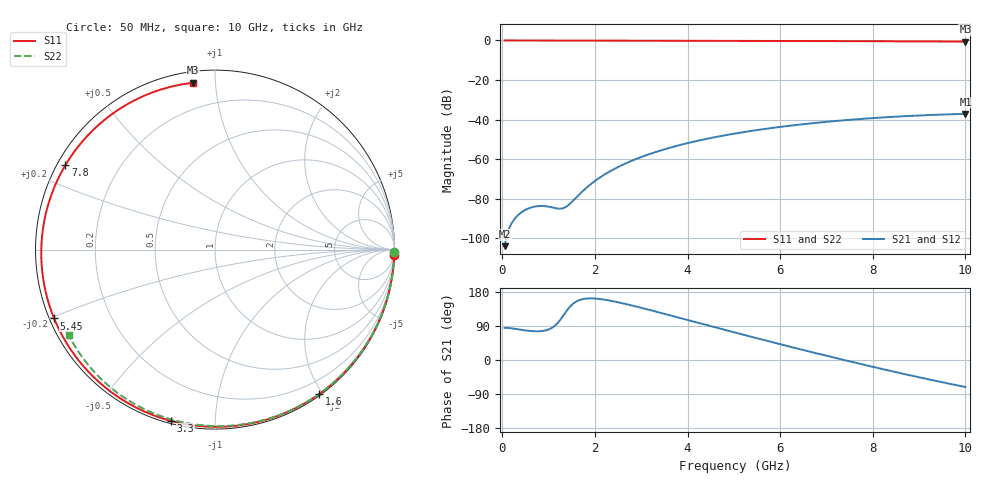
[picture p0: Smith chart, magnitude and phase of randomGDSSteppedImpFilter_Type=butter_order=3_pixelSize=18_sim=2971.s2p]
! freq	dB(S11)	phase(S11)	dB(S12)	phase(S12)
!  dB(S21)	phase(S21)	dB(S22)	phase(S22)
!S-par simulation data
#  GHz  S  DB  R 50
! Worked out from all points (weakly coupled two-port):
!   200 points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, 50 MHz to 10 GHz, reference 50 ohm
!   highest |S21| = -37.14 dB at 10 GHz (marker M1); lowest = -104.1 dB at 50 MHz (marker M2)
!   lowest |S11| = -0.6 dB at 10 GHz (marker M3), VSWR 30.93, Z = 2.86 + j43.8 ohm
!   |S11| at or under -10 dB: nowhere
!   |S22| runs from -0.5 to 0.0 dB; largest |S21 - S12| = 0
!   S11 on the Smith chart (normalised r, x): 50 MHz: 1, -67; 1.6 GHz: 0.02, -1.95; 3.3 GHz: 0.01, -0.78; 5.45 GHz: 0.01, -0.20; 7.8 GHz: 0.02, +0.26; 10 GHz: 0.06, +0.88
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0.05  -0.00 -1.7  -104.06 84.6  -104.06 84.6  -0.00 -0.8
0.4  -0.02 -14.0  -87.16 79.8  -87.16 79.8  -0.01 -6.9
0.75  -0.03 -26.1  -83.87 75.7  -83.87 75.7  -0.02 -12.9
1.15  -0.05 -39.6  -84.83 92.0  -84.83 92.0  -0.02 -19.7
1.55  -0.07 -52.7  -80.58 150.6  -80.58 150.6  -0.03 -26.5
1.6  -0.07 -54.3  -79.38 154.5  -79.38 154.5  -0.03 -27.3
1.75  -0.07 -59.1  -75.92 160.9  -75.92 160.9  -0.04 -29.9
2.05  -0.08 -68.5  -70.25 161.7  -70.25 161.7  -0.04 -34.8
2.4  -0.10 -79.0  -65.24 154.9  -65.24 154.9  -0.05 -40.6
2.8  -0.11 -90.6  -60.82 143.8  -60.82 143.8  -0.06 -47.1
3.3  -0.13 -104.3  -56.53 128.3  -56.53 128.3  -0.07 -55.1
3.4  -0.13 -107.0  -55.78 125.1  -55.78 125.1  -0.07 -56.7
4.25  -0.16 -128.6  -50.59 97.5  -50.59 97.5  -0.10 -69.9
5.05  -0.20 -147.7  -46.98 71.7  -46.98 71.7  -0.13 -81.8
5.45  -0.22 -156.8  -45.49 59.0  -45.49 59.0  -0.14 -87.6
6.05  -0.26 -170.3  -43.58 40.2  -43.58 40.2  -0.17 -96.2
6.7  -0.30 175.2  -41.86 20.3  -41.86 20.3  -0.20 -105.3
7.25  -0.34 162.9  -40.63 3.8  -40.63 3.8  -0.24 -112.8
7.8  -0.38 150.5  -39.60 -12.3  -39.60 -12.3  -0.28 -120.3
8.35  -0.42 137.8  -38.75 -27.9  -38.75 -27.9  -0.33 -127.6
9.2  -0.50 117.5  -37.76 -51.0  -37.76 -51.0  -0.41 -139.0
10  -0.56 97.4  -37.14 -71.2  -37.14 -71.2  -0.50 -149.8
